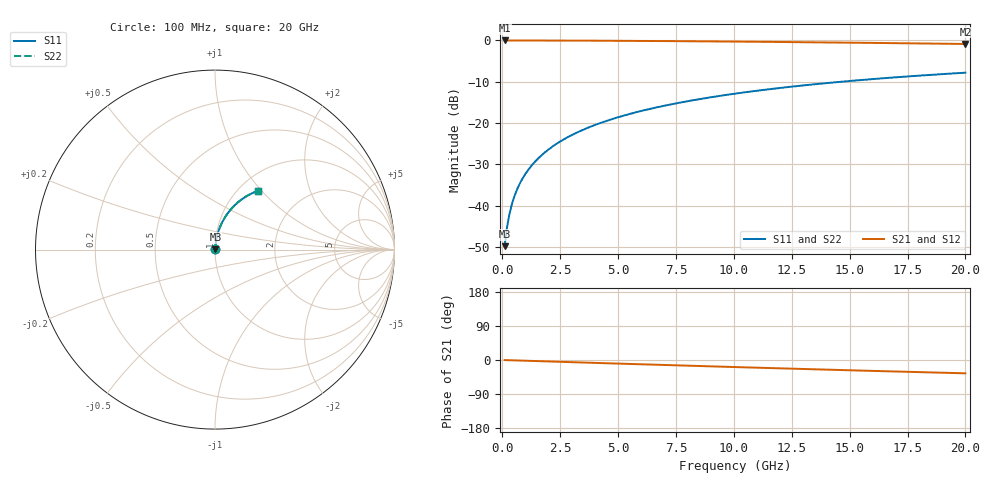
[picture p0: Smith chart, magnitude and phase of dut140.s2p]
! Touchstone file exported from HFSS 2026.1.0
!  File:  C:/ffzhzh/LocalFiles/Ansys_Project_Files/temp_train_TMRDL_140_1782982948_45328.aedt
!  Generated:  05:03:42 PM Jul  2, 2026
!  Design:  TMRDL
!  Project:  temp_train_TMRDL_140_1782982948_45328
! Variables:
!  h_bsmrdl = 2um
!  h_ox = 20um
!  h_rdl = 5um
!  h_sub = 80um
!  h_tmrdl = 4.94um
!  h_tsv = 80um
!  h_via = 3um
!  l_bsmrdl = 300um
!  l_sub = 832.34um
!  l_tmrdl = 432.34um
!  m_sub = 200um
!  pitch = 59.16um
!  r_tsv = 6um
!  s_tmrdl = 10um
!  w_bsmrdl = 18um
!  w_sub = 500um
!  w_tmrdl = 15.66um
!  x_tsv_center1 = 440.17um
!  x_tsv_center2 = 758.17um
!  x_tsv_center3 = 1206.17um
!  x_tsv_center4 = 1524.17um
!  x_tsv_center5 = 1972.17um
!  x_tsv_center6 = 2290.17um
# GHz S MA R 50.000000
! Terminal data exported
! Port[1] = TM_RDL1_1_T1
! Port[2] = TM_RDL1_1_T2
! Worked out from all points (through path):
!   200 points, 100 MHz to 20 GHz, reference 50 ohm
!   highest |S21| = -0.02 dB at 100 MHz (marker M1); lowest = -0.9 dB at 20 GHz (marker M2)
!   group delay of S21, straight-line fit = 4.89 ps
!   lowest |S11| = -49.8 dB at 100 MHz (marker M3), VSWR 1.01, Z = 50.2 + j0.25 ohm
!   |S11| at or under -10 dB: start of sweep to 14.64 GHz
!   |S22| runs from -49.8 to -7.8 dB; largest |S21 - S12| = 2.2e-15
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0.1  0.003254 50.0  0.9979 -0.2  0.9979 -0.2  0.003254 50.0
! Gamma 0 0 0 0
! Port Impedance 50 0 50 0
0.2  0.00542 66.4  0.9978 -0.4  0.9978 -0.4  0.00542 66.4
0.3  0.007755 72.9  0.9978 -0.6  0.9978 -0.6  0.007755 72.9
0.4  0.01012 76.3  0.9977 -0.8  0.9977 -0.8  0.01012 76.3
0.5  0.0125 78.3  0.9976 -1.0  0.9976 -1.0  0.01249 78.3
0.7  0.01724 80.5  0.9975 -1.4  0.9975 -1.4  0.01724 80.5
0.8  0.01962 81.2  0.9974 -1.6  0.9974 -1.6  0.01962 81.2
1  0.02437 82.0  0.9972 -1.9  0.9972 -1.9  0.02437 82.0
1.2  0.02912 82.5  0.997 -2.3  0.997 -2.3  0.02912 82.5
1.4  0.03388 82.7  0.9968 -2.7  0.9968 -2.7  0.03388 82.7
1.7  0.041 82.8  0.9964 -3.3  0.9964 -3.3  0.041 82.8
2  0.04812 82.6  0.996 -3.8  0.996 -3.8  0.04812 82.6
2.7  0.06463 81.9  0.9947 -5.2  0.9947 -5.2  0.06463 81.9
3.5  0.08332 80.8  0.9929 -6.7  0.9929 -6.7  0.08332 80.8
4.2  0.09949 79.6  0.991 -8.0  0.991 -8.0  0.09949 79.6
5  0.1177 78.3  0.9885 -9.5  0.9885 -9.5  0.1177 78.3
6.8  0.1579 75.2  0.982 -12.8  0.982 -12.8  0.1579 75.2
8.3  0.1903 72.6  0.9757 -15.5  0.9757 -15.5  0.1903 72.6
10.1  0.228 69.6  0.967 -18.7  0.967 -18.7  0.228 69.6
13.4  0.2932 64.1  0.9485 -24.4  0.9485 -24.4  0.2932 64.1
16.7  0.3529 58.7  0.9275 -29.9  0.9275 -29.9  0.3529 58.8
20  0.4067 53.6  0.905 -35.1  0.905 -35.1  0.4067 53.7
